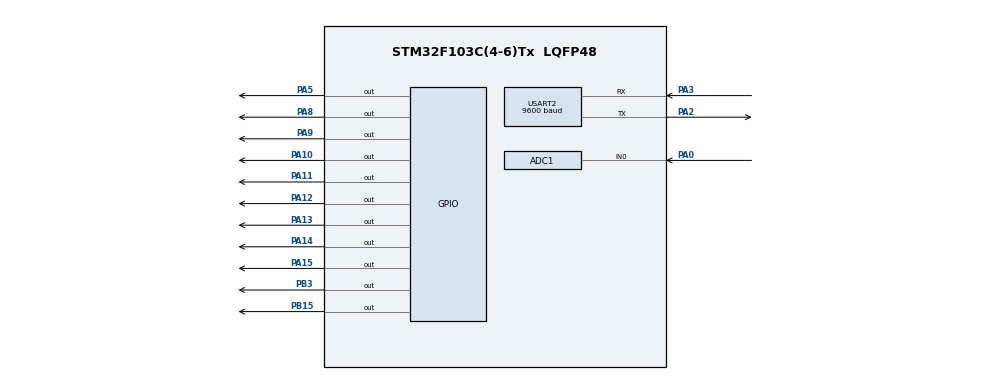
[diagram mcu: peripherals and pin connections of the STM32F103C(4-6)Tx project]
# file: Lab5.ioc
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ADC1.Channel-0\#ChannelRegularConversion=ADC_CHANNEL_0
ADC1.ContinuousConvMode=ENABLE
ADC1.NbrOfConversionFlag=1
ADC1.Rank-0\#ChannelRegularConversion=1
ADC1.SamplingTime-0\#ChannelRegularConversion=ADC_SAMPLETIME_1CYCLE_5
ADC1.master=1
Mcu.Family=STM32F1
Mcu.Name=STM32F103C(4-6)Tx
Mcu.Package=LQFP48
NVIC.PriorityGroup=NVIC_PRIORITYGROUP_4
NVIC.TIM2_IRQn=true\:0\:0\:false\:false\:true\:true\:true
NVIC.USART2_IRQn=true\:0\:0\:false\:false\:true\:true\:true
PA0-WKUP.Signal=ADCx_IN0
PA10.Signal=GPIO_Output
PA11.Signal=GPIO_Output
PA12.Signal=GPIO_Output
PA13.Signal=GPIO_Output
PA14.Signal=GPIO_Output
PA15.Signal=GPIO_Output
PA2.Mode=Asynchronous
PA2.Signal=USART2_TX
PA3.Mode=Asynchronous
PA3.Signal=USART2_RX
PA5.Signal=GPIO_Output
PA8.Signal=GPIO_Output
PA9.Signal=GPIO_Output
PB15.Signal=GPIO_Output
PB3.Signal=GPIO_Output
ProjectManager.HeapSize=0x200
ProjectManager.StackSize=0x400
ProjectManager.TargetToolchain=STM32CubeIDE
RCC.APB1Freq_Value=8000000
RCC.APB2Freq_Value=8000000
SH.ADCx_IN0.0=ADC1_IN0,IN0
TIM2.Period=999
TIM2.Prescaler=7999
USART2.BaudRate=9600
USART2.VirtualMode=VM_ASYNC
VP_SYS_VS_ND.Mode=No_Debug
VP_TIM2_VS_ClockSourceINT.Mode=Internal
board=custom

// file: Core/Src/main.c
/* USER CODE BEGIN Header */
/**
  ******************************************************************************
  * @file           : main.c
  * @brief          : Main program body
  ******************************************************************************
  * @attention
  *
  * <h2><center>&copy; Copyright (c) 2021 STMicroelectronics.
  * All rights reserved.</center></h2>
  *
  * This software component is licensed by ST under BSD 3-Clause license,
  * the "License"; You may not use this file except in compliance with the
  * License. You may obtain a copy of the License at:
  *                        opensource.org/licenses/BSD-3-Clause
  *
  ******************************************************************************
  */
/* USER CODE END Header */
#include "main.h"

ADC_HandleTypeDef hadc1;

TIM_HandleTypeDef htim2;

UART_HandleTypeDef huart2;

void SystemClock_Config(void);
static void MX_GPIO_Init(void);
static void MX_ADC1_Init(void);
static void MX_USART2_UART_Init(void);
static void MX_TIM2_Init(void);

/* USER CODE BEGIN 0 */
//uint8_t temp = 0;
//
//void HAL_UART_RxCpltCallback ( UART_HandleTypeDef * huart ) {
//	if( huart->Instance == USART2 ) {
//			HAL_UART_Transmit (&huart2 , &temp , 1 , 50) ;
//			HAL_UART_Receive_IT (&huart2 , &temp , 1) ;
//	}
//}
#define MAX_BUFFER_SIZE 30
uint8_t temp = 0;
uint8_t buffer [ MAX_BUFFER_SIZE ];
uint8_t index_buffer = 0;
uint8_t buffer_flag = 0;
uint8_t curr_index_buffer = 0;
uint8_t command_flag = 0;
char command_data [MAX_BUFFER_SIZE]= "";
uint32_t ADC_value = 0;
uint8_t *str;

void HAL_UART_RxCpltCallback ( UART_HandleTypeDef * huart ) {
	if( huart->Instance == USART2 ) {
		HAL_UART_Transmit (&huart2 , &temp , 1, 50);
		buffer [ index_buffer++] = temp ;
		if( index_buffer == 30) index_buffer = 0;
		buffer_flag = 1;
//		HAL_UART_Transmit (&huart2 , &temp, 1, 1000);
		HAL_UART_Receive_IT (& huart2 , & temp , 1) ;
	}
}
const int TIMER_CYCLE = 1000;
int timer0_counter = 0;
int timer0_flag = 0;
void setTimer0 ( int duration ) {
	timer0_counter = duration / TIMER_CYCLE ;
	timer0_flag = 0;
}
void timer_run() {
	if( timer0_counter > 0) {
		timer0_counter--;
		if( timer0_counter == 0) timer0_flag = 1;
	}

}

void HAL_TIM_PeriodElapsedCallback ( TIM_HandleTypeDef * htim ){
	timer_run();
//	HAL_UART_Transmit (&huart2 , "A" , 1, 50);
}
/* USER CODE END 0 */

int main(void)
{

  /* MCU Configuration--------------------------------------------------------*/

  /* Reset of all peripherals, Initializes the Flash interface and the Systick. */
  HAL_Init();

  /* Configure the system clock */
  SystemClock_Config();

  /* Initialize all configured peripherals */
  MX_GPIO_Init();
  MX_ADC1_Init();
  MX_USART2_UART_Init();
  MX_TIM2_Init();
  /* USER CODE BEGIN 2 */
  HAL_UART_Receive_IT (& huart2 , & temp , 1) ;
  HAL_ADC_Start(&hadc1);
  HAL_TIM_Base_Start_IT(&htim2);
  /* USER CODE END 2 */

  /* Infinite loop */
  /* USER CODE BEGIN WHILE */
  uint8_t *str;
  uint32_t ADC_value;
  while (1)
  {
    /* USER CODE END WHILE */

    /* USER CODE BEGIN 3 */

	  if( buffer_flag == 1) {
		  command_parser_fsm () ;
//		  int len = sprintf ( str , "get: %c\r\n", buffer[curr_index_buffer++] );
//		  HAL_UART_Transmit (&huart2 , (void *) str, len, 1000);
//		  if(curr_index_buffer==30) curr_index_buffer = 0;
		  buffer_flag = 0;
	  }
	  uart_communiation_fsm () ;
//	  if(command_flag == 1){
//
//		  ADC_value = HAL_ADC_GetValue (&hadc1);
//		  int len = sprintf ( str , "\r\n%s\r\n", command_data );
//		  HAL_UART_Transmit (&huart2 , (void *) str, len, 1000);
//		  command_flag = 0;
//		  HAL_GPIO_TogglePin ( GPIOA , GPIO_PIN_5 ) ;
//	  }
//	  HAL_GPIO_TogglePin ( GPIOA , GPIO_PIN_5 ) ;
//	  ADC_value = HAL_ADC_GetValue (&hadc1);
//	  int len = sprintf ( str , "%hu\r\n", ADC_value );
//	  HAL_UART_Transmit (&huart2 , (void *) str, len, 1000);
//	  HAL_Delay (500);

  }
  /* USER CODE END 3 */
}

void SystemClock_Config(void)
{
  RCC_OscInitTypeDef RCC_OscInitStruct = {0};
  RCC_ClkInitTypeDef RCC_ClkInitStruct = {0};
  RCC_PeriphCLKInitTypeDef PeriphClkInit = {0};

  /** Initializes the RCC Oscillators according to the specified parameters
  * in the RCC_OscInitTypeDef structure.
  */
  RCC_OscInitStruct.OscillatorType = RCC_OSCILLATORTYPE_HSI;
  RCC_OscInitStruct.HSIState = RCC_HSI_ON;
  RCC_OscInitStruct.HSICalibrationValue = RCC_HSICALIBRATION_DEFAULT;
  RCC_OscInitStruct.PLL.PLLState = RCC_PLL_NONE;
  if (HAL_RCC_OscConfig(&RCC_OscInitStruct) != HAL_OK)
  {
    Error_Handler();
  }
  /** Initializes the CPU, AHB and APB buses clocks
  */
  RCC_ClkInitStruct.ClockType = RCC_CLOCKTYPE_HCLK|RCC_CLOCKTYPE_SYSCLK
                              |RCC_CLOCKTYPE_PCLK1|RCC_CLOCKTYPE_PCLK2;
  RCC_ClkInitStruct.SYSCLKSource = RCC_SYSCLKSOURCE_HSI;
  RCC_ClkInitStruct.AHBCLKDivider = RCC_SYSCLK_DIV1;
  RCC_ClkInitStruct.APB1CLKDivider = RCC_HCLK_DIV1;
  RCC_ClkInitStruct.APB2CLKDivider = RCC_HCLK_DIV1;

  if (HAL_RCC_ClockConfig(&RCC_ClkInitStruct, FLASH_LATENCY_0) != HAL_OK)
  {
    Error_Handler();
  }
  PeriphClkInit.PeriphClockSelection = RCC_PERIPHCLK_ADC;
  PeriphClkInit.AdcClockSelection = RCC_ADCPCLK2_DIV2;
  if (HAL_RCCEx_PeriphCLKConfig(&PeriphClkInit) != HAL_OK)
  {
    Error_Handler();
  }
}

static void MX_ADC1_Init(void)
{

  ADC_ChannelConfTypeDef sConfig = {0};

  /** Common config
  */
  hadc1.Instance = ADC1;
  hadc1.Init.ScanConvMode = ADC_SCAN_DISABLE;
  hadc1.Init.ContinuousConvMode = ENABLE;
  hadc1.Init.DiscontinuousConvMode = DISABLE;
  hadc1.Init.ExternalTrigConv = ADC_SOFTWARE_START;
  hadc1.Init.DataAlign = ADC_DATAALIGN_RIGHT;
  hadc1.Init.NbrOfConversion = 1;
  if (HAL_ADC_Init(&hadc1) != HAL_OK)
  {
    Error_Handler();
  }
  /** Configure Regular Channel
  */
  sConfig.Channel = ADC_CHANNEL_0;
  sConfig.Rank = ADC_REGULAR_RANK_1;
  sConfig.SamplingTime = ADC_SAMPLETIME_1CYCLE_5;
  if (HAL_ADC_ConfigChannel(&hadc1, &sConfig) != HAL_OK)
  {
    Error_Handler();
  }

}

static void MX_TIM2_Init(void)
{

  TIM_ClockConfigTypeDef sClockSourceConfig = {0};
  TIM_MasterConfigTypeDef sMasterConfig = {0};

  htim2.Instance = TIM2;
  htim2.Init.Prescaler = 7999;
  htim2.Init.CounterMode = TIM_COUNTERMODE_UP;
  htim2.Init.Period = 999;
  htim2.Init.ClockDivision = TIM_CLOCKDIVISION_DIV1;
  htim2.Init.AutoReloadPreload = TIM_AUTORELOAD_PRELOAD_DISABLE;
  if (HAL_TIM_Base_Init(&htim2) != HAL_OK)
  {
    Error_Handler();
  }
  sClockSourceConfig.ClockSource = TIM_CLOCKSOURCE_INTERNAL;
  if (HAL_TIM_ConfigClockSource(&htim2, &sClockSourceConfig) != HAL_OK)
  {
    Error_Handler();
  }
  sMasterConfig.MasterOutputTrigger = TIM_TRGO_RESET;
  sMasterConfig.MasterSlaveMode = TIM_MASTERSLAVEMODE_DISABLE;
  if (HAL_TIMEx_MasterConfigSynchronization(&htim2, &sMasterConfig) != HAL_OK)
  {
    Error_Handler();
  }

}

static void MX_USART2_UART_Init(void)
{

  huart2.Instance = USART2;
  huart2.Init.BaudRate = 9600;
  huart2.Init.WordLength = UART_WORDLENGTH_8B;
  huart2.Init.StopBits = UART_STOPBITS_1;
  huart2.Init.Parity = UART_PARITY_NONE;
  huart2.Init.Mode = UART_MODE_TX_RX;
  huart2.Init.HwFlowCtl = UART_HWCONTROL_NONE;
  huart2.Init.OverSampling = UART_OVERSAMPLING_16;
  if (HAL_UART_Init(&huart2) != HAL_OK)
  {
    Error_Handler();
  }

}

static void MX_GPIO_Init(void)
{
  GPIO_InitTypeDef GPIO_InitStruct = {0};

  /* GPIO Ports Clock Enable */
  __HAL_RCC_GPIOA_CLK_ENABLE();
  __HAL_RCC_GPIOB_CLK_ENABLE();

  /*Configure GPIO pin Output Level */
  HAL_GPIO_WritePin(GPIOA, GPIO_PIN_5|GPIO_PIN_8|GPIO_PIN_9|GPIO_PIN_10
                          |GPIO_PIN_11|GPIO_PIN_12|GPIO_PIN_13|GPIO_PIN_14
                          |GPIO_PIN_15, GPIO_PIN_RESET);

  /*Configure GPIO pin Output Level */
  HAL_GPIO_WritePin(GPIOB, GPIO_PIN_15|GPIO_PIN_3, GPIO_PIN_RESET);

  /*Configure GPIO pins : PA5 PA8 PA9 PA10
                           PA11 PA12 PA13 PA14
                           PA15 */
  GPIO_InitStruct.Pin = GPIO_PIN_5|GPIO_PIN_8|GPIO_PIN_9|GPIO_PIN_10
                          |GPIO_PIN_11|GPIO_PIN_12|GPIO_PIN_13|GPIO_PIN_14
                          |GPIO_PIN_15;
  GPIO_InitStruct.Mode = GPIO_MODE_OUTPUT_PP;
  GPIO_InitStruct.Pull = GPIO_NOPULL;
  GPIO_InitStruct.Speed = GPIO_SPEED_FREQ_LOW;
  HAL_GPIO_Init(GPIOA, &GPIO_InitStruct);

  /*Configure GPIO pins : PB15 PB3 */
  GPIO_InitStruct.Pin = GPIO_PIN_15|GPIO_PIN_3;
  GPIO_InitStruct.Mode = GPIO_MODE_OUTPUT_PP;
  GPIO_InitStruct.Pull = GPIO_NOPULL;
  GPIO_InitStruct.Speed = GPIO_SPEED_FREQ_LOW;
  HAL_GPIO_Init(GPIOB, &GPIO_InitStruct);

}

void Error_Handler(void)
{
  __disable_irq();
  while (1)
  {
  }
}

/************************ (C) COPYRIGHT STMicroelectronics *****END OF FILE****/
